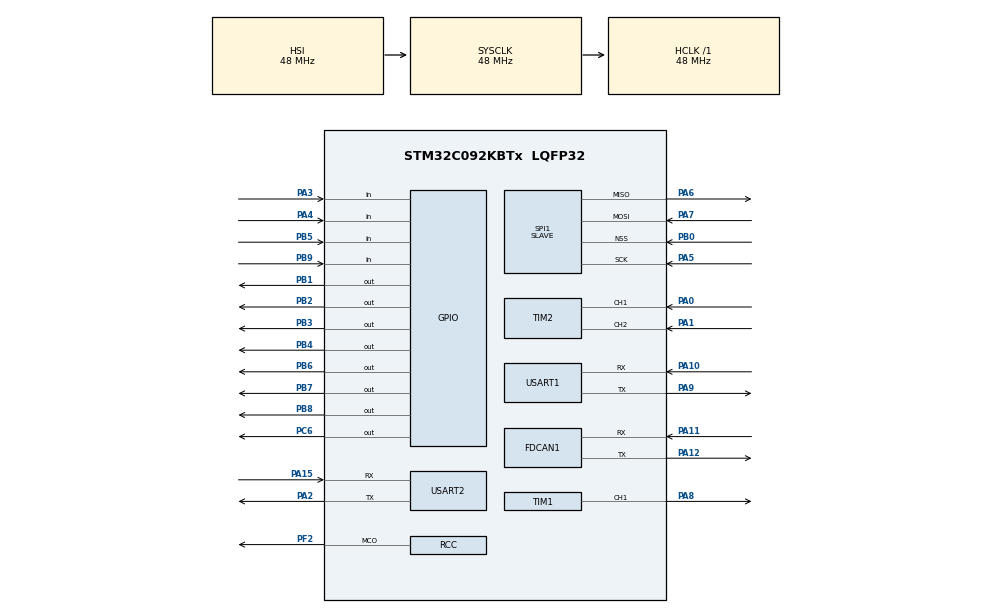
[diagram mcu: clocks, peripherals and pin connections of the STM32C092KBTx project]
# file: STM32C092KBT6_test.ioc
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FDCAN1.CalculateBaudRateNominal=1000000
FDCAN1.CalculateTimeQuantumNominal=333.3333333333333
Mcu.Family=STM32C0
Mcu.Name=STM32C092KBTx
Mcu.Package=LQFP32
NVIC.TIM14_IRQn=true\:0\:0\:false\:false\:true\:true\:true\:true
NVIC.TIM1_BRK_UP_TRG_COM_IRQn=true\:0\:0\:false\:false\:true\:true\:true\:true
NVIC.USART1_IRQn=true\:0\:0\:false\:false\:true\:true\:true\:true
NVIC.USART2_IRQn=true\:0\:0\:false\:false\:true\:true\:true\:true
PA0.Signal=S_TIM2_CH1
PA1.Signal=S_TIM2_CH2
PA10.Mode=Asynchronous
PA10.Signal=USART1_RX
PA11\ [PA9].Mode=FDCAN_Activate
PA11\ [PA9].Signal=FDCAN1_RX
PA12\ [PA10].Mode=FDCAN_Activate
PA12\ [PA10].Signal=FDCAN1_TX
PA13.Mode=Serial_Wire
PA13.Signal=DEBUG_SWDIO
PA14-BOOT0.Mode=Serial_Wire
PA14-BOOT0.Signal=DEBUG_SWCLK
PA15.Mode=Asynchronous
PA15.Signal=USART2_RX
PA2.Mode=Asynchronous
PA2.Signal=USART2_TX
PA3.Signal=GPIO_Input
PA4.Signal=GPIO_Input
PA5.Mode=Full_Duplex_Slave
PA5.Signal=SPI1_SCK
PA6.Mode=Full_Duplex_Slave
PA6.Signal=SPI1_MISO
PA7.Mode=Full_Duplex_Slave
PA7.Signal=SPI1_MOSI
PA8.Signal=S_TIM1_CH1
PA9.Mode=Asynchronous
PA9.Signal=USART1_TX
PB0.Mode=NSS_Signal_Hard_Input
PB0.Signal=SPI1_NSS
PB1.Signal=GPIO_Output
PB2.Signal=GPIO_Output
PB3.Signal=GPIO_Output
PB4.Signal=GPIO_Output
PB5.Signal=GPIO_Input
PB6.Signal=GPIO_Output
PB7.Signal=GPIO_Output
PB8.Signal=GPIO_Output
PB9.Signal=GPIO_Input
PC14-OSCX_IN(PC14).Signal=RCC_OSCX_IN
PC15-OSCX_OUT(PC15).Signal=RCC_OSCX_OUT
PC6.Signal=GPIO_Output
PF2-NRST.Mode=Clock-out
PF2-NRST.Signal=RCC_MCO
ProjectManager.HeapSize=0x200
ProjectManager.StackSize=0x400
ProjectManager.TargetToolchain=CMake
RCC.ADCFreq_Value=48000000
RCC.AHBFreq_Value=48000000
RCC.CortexFreq_Value=48000000
RCC.EXTERNAL_CLOCK_VALUE=12288000
RCC.HCLKFreq_Value=48000000
RCC.HSE_VALUE=8000000
RCC.HSISYSCLKDivider=RCC_HSI_DIV1
RCC.HSI_VALUE=48000000
RCC.LSE_VALUE=32768
RCC.SYSCLKFreq_VALUE=48000000
SH.S_TIM1_CH1.0=TIM1_CH1,PWM Generation1 CH1
SH.S_TIM2_CH1.0=TIM2_CH1,Encoder_Interface
SH.S_TIM2_CH2.0=TIM2_CH2,Encoder_Interface
SPI1.Direction=SPI_DIRECTION_2LINES
SPI1.Mode=SPI_MODE_SLAVE
SPI1.VirtualNSS=VM_NSSHARD
SPI1.VirtualType=VM_SLAVE
TIM1.AutoReloadPreload=TIM_AUTORELOAD_PRELOAD_ENABLE
TIM1.Channel-PWM\ Generation1\ CH1=TIM_CHANNEL_1
TIM1.Period=999
TIM1.Prescaler=47
TIM1.Pulse-PWM\ Generation1\ CH1=500
TIM14.AutoReloadPreload=TIM_AUTORELOAD_PRELOAD_DISABLE
TIM14.Period=999
TIM14.Prescaler=47
USART1.VirtualMode-Asynchronous=VM_ASYNC
USART2.VirtualMode-Asynchronous=VM_ASYNC
VP_TIM14_VS_ClockSourceINT.Mode=Enable_Timer
VP_TIM1_VS_ClockSourceINT.Mode=Internal
board=custom

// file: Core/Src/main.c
/* USER CODE BEGIN Header */
/**
  ******************************************************************************
  * @file           : main.c
  * @brief          : Main program body
  ******************************************************************************
  * @attention
  *
  * Copyright (c) 2026 STMicroelectronics.
  * All rights reserved.
  *
  * This software is licensed under terms that can be found in the LICENSE file
  * in the root directory of this software component.
  * If no LICENSE file comes with this software, it is provided AS-IS.
  *
  ******************************************************************************
  */
/* USER CODE END Header */
#include "main.h"
#include "fdcan.h"
#include "spi.h"
#include "tim.h"
#include "usart.h"
#include "gpio.h"

/* USER CODE BEGIN Includes */
#include <stdio.h>
#include "SPM_Modbus.h"
/* USER CODE END Includes */

/* USER CODE BEGIN PD */
//ピン定義
#define TQ_PIN GPIO_PIN_8     // トルクアップ信号ピン
#define TQ_PORT GPIOB         // トルクアップ信号ポート
#define EN_PIN GPIO_PIN_7     // イネーブル信号ピン
#define EN_PORT GPIOB         // イネーブル信号ポート
#define M2_PIN GPIO_PIN_6     // モータ2信号ピン
#define M2_PORT GPIOB         // モータ2信号ポート
#define M1_PIN GPIO_PIN_3     // モータ1信号ピン
#define M1_PORT GPIOB         // モータ1信号ポート
#define DIR_PIN GPIO_PIN_2    // 方向信号ピン
#define DIR_PORT GPIOB        // 方向信号ポート
#define STBY_PIN GPIO_PIN_1   // スタンバイ信号ピン
#define STBY_PORT GPIOB       // スタンバイ信号ポート

#define HOME_PIN GPIO_PIN_9   // HOME(IO0)信号ピン
#define HOME_PORT GPIOB       // HOME信号(IO0)ポート
#define H_LIMIT_PIN GPIO_PIN_3   // H_LIMIT(IO1)信号ピン
#define H_LIMIT_PORT GPIOA       // H_LIMIT(IO1)信号ポート
#define L_LIMIT_PIN GPIO_PIN_4   // L_LIMIT(IO2)信号ピン
#define L_LIMIT_PORT GPIOA       // L_LIMIT(IO2)信号ポート
#define EN_2_PIN GPIO_PIN_5   // enable信号ピン
#define EN_2_PORT GPIOB       // enable信号ポート

//ステータス定義ビットマップ
//0 動作中
//1,2,3 動作モード rw_modeの下位3ビットと同じ
//4,5 動作ステータス 0停止　1加速　2減速　3定速
//6 インポジション
//7 na
//8 enable ピン信号
//9 tq ピン信号
//10 enable ピン信号
//11 IO0ピン信号
//12 IO1ピン信号
//13 IO2ピン信号
//14,15 na

#define STATUS_ACTIVE       (1U << 0)
#define STATUS_MODE_MASK    (0x7U << 1)
#define STATUS_MOTION_MASK  (0x3U << 4)
#define STATUS_IN_POSITION  (1U << 6)
#define STATUS_ENABLE       (1U << 8)
#define STATUS_TQ           (1U << 9)
#define STATUS_ENABLE_2     (1U << 10)
#define STATUS_IO0          (1U << 11)
#define STATUS_IO1          (1U << 12)
#define STATUS_IO2          (1U << 13)

//エラー ビットマップ
//0 パルス追従エラー
//1 指令値エラー
//2 上限リミット
//3 下限リミット
//4 非常停止
//5-15 na

/* USER CODE END PD */

/* USER CODE BEGIN PV */
// グローバル変数
//_は内部変数、roは読み取り専用変数(input_regs)
//rwは読み書き可能な変数(holding_regs)
//デバイス定義
int16_t ro_model_no = 52;   // モデル番号
int16_t ro_version = 1;     // バージョン番号
int16_t ro_sub_version = 0; // サブバージョン番号

//内部変数
//シリアルデータ
typedef struct {
  int16_t rx_len;
  uint8_t recv_data;
  uint8_t rx_buf[256];
  uint8_t tx_buf[256];
} SerialData;
SerialData serial1;
SerialData serial2;

//アプリケーション変数
int16_t rw_dev_id=51; //デバイスID
//ステータス関連
volatile int16_t ro_status = 0; //ステータス
volatile int16_t rw_error = 0; // エラーステータス
//動作モード関連
volatile int16_t rw_mode = 0;  //動作モード　0:絶対位置制御, 1:速度制御　(最上位が動作指令ON)
volatile int16_t rw_io0_mode = 0; // IO0モード 0:無効 1:下限リミット(ONで有効) 2:下限リミット(OFFで有効)
volatile int16_t rw_io1_mode = 0; // IO1モード 0:無効 1:HOME(ONで有効) 2:HOME(OFFで有効)
volatile int16_t rw_io2_mode = 0; // IO2モード 0:無効 1:上限リミット(ONで有効) 2:上限リミット(OFFで有効)
//ステップ数
volatile int32_t _pulse_count = 0; //現在ステップ数
volatile int32_t _pulse_target = 0; //目標ステップ数
volatile int32_t _pulse_start = 0; //動作開始時のステップ数
volatile int32_t _pulse_direction = 1; //正転:+1、反転:-1
volatile int16_t ro_pulse_acc = 0; //加速ステップ数 (Acceleration steps) #自動計算
volatile int16_t ro_pulse_dec = 0; //減速ステップ数 (Deceleration steps) #自動計算
//ステップ数(表示用) 表示用は必ずint16_tで定義すること
volatile int16_t rw_pulse_count_h = 0; //現在ステップ数の上位16ビット(表示用)
volatile int16_t rw_pulse_count_l = 0; //現在ステップ数の下位16ビット(表示用)
volatile int16_t rw_pulse_target_h = 0; //目標ステップ数の上位16ビット(表示用)
volatile int16_t rw_pulse_target_l = 0; //目標ステップ数の下位16ビット(表示用)
//速度関連
volatile int32_t _next_period_us = 0; //次の周期時間 (マイクロ秒)
volatile int32_t _FL_speed = 0; //初速 period
volatile int32_t _FH_speed = 0; //最高速 period
volatile int32_t _FH_direction = 1; //最高速の方向
volatile int32_t _position_speed_hz = 0; //位置制御の現在速度Hz
//速度関連(表示用)
volatile int16_t ro_next_period_hz = 0; //次の周期周波数 (Hz) #表示用
volatile int16_t rw_FL_speed_hz = 0; //初速 (表示用)
volatile int16_t rw_FH_speed_hz = 0; //最高速 (表示用)
volatile int16_t rw_ACC_ratio = 0; //加速レート (表示用)
//その他

/* USER CODE END PV */

void SystemClock_Config(void);
/* USER CODE BEGIN PFP */
//絶対値を返す関数32ビット版
int32_t abs32(int32_t x)
{
    return (x < 0) ? -x : x;
}
//絶対値を返す関数16ビット版
int16_t abs16(int16_t x)
{
    return (x < 0) ? -x : x;
}

// 上位16ビットと下位16ビットから32ビットのステップ数を結合する関数
int32_t combine_words(int16_t high_word, int16_t low_word)
{
  if (high_word == 0 && low_word < 0)
  {
    return low_word;
  }
  return ((int32_t)high_word << 16) | (uint16_t)low_word;
}

//正負か0を返す関数16ビット版
int16_t sign16(int16_t x)
{
    return (x > 0) - (x < 0);
}

//正負か0を返す関数32ビット版
int32_t sign32(int32_t x)
{
    return (x > 0) - (x < 0);
}

//周期[us]から周波数[Hz]を計算する関数
int32_t period_to_frequency(int32_t period_us)
{
  if (period_us == 0)
        return 0;
  return (period_us < 0)
     ? -(1000000 / abs32(period_us))
     : (1000000 / period_us);
}
//周波数[Hz]から周期[us]を計算する関数
int32_t frequency_to_period(int32_t frequency_hz)
{
    if (frequency_hz <= 0)
        return 0;
    return 1000000 / frequency_hz;
}

void UpdateStatusInputs(void)
{
  ro_status &= (STATUS_ACTIVE | STATUS_MODE_MASK | STATUS_MOTION_MASK
        | STATUS_IN_POSITION);
  ro_status |= ((uint16_t)(rw_mode & 0x7) << 1);

  if (__HAL_TIM_GET_COUNTER(&htim1) != 0U)
  {
    ro_status |= STATUS_ACTIVE;
  }
  if (HAL_GPIO_ReadPin(EN_PORT, EN_PIN) == GPIO_PIN_SET)
  {
    ro_status |= STATUS_ENABLE | STATUS_ENABLE_2;
  }
  if (HAL_GPIO_ReadPin(TQ_PORT, TQ_PIN) == GPIO_PIN_SET)
  {
    ro_status |= STATUS_TQ;
  }
  if (HAL_GPIO_ReadPin(HOME_PORT, HOME_PIN) == GPIO_PIN_SET)
  {
    ro_status |= STATUS_IO0;
  }
  if (HAL_GPIO_ReadPin(H_LIMIT_PORT, H_LIMIT_PIN) == GPIO_PIN_SET)
  {
    ro_status |= STATUS_IO1;
  }
  if (HAL_GPIO_ReadPin(L_LIMIT_PORT, L_LIMIT_PIN) == GPIO_PIN_SET)
  {
    ro_status |= STATUS_IO2;
  }
}

/* USER CODE END PFP */

int main(void)
{

  /* MCU Configuration--------------------------------------------------------*/

  /* Reset of all peripherals, Initializes the Flash interface and the Systick. */
  HAL_Init();

  /* Configure the system clock */
  SystemClock_Config();

  /* Initialize all configured peripherals */
  MX_GPIO_Init();
  MX_FDCAN1_Init();
  MX_USART1_UART_Init();
  MX_TIM1_Init();
  MX_SPI1_Init();
  MX_USART2_UART_Init();
  MX_TIM14_Init();
  MX_TIM2_Init();
  /* USER CODE BEGIN 2 */

  //各レジスタ初期化
  SPM_ModbusInit();
  //Input (Read-Only) Registers
  //アプリケーション変数のうちのro(input_regs)+rw(holding_regs)
  p_input_regs[0] = &ro_model_no;   //モデルナンバー
  p_input_regs[1] = &ro_version; //バージョン
  p_input_regs[2] = &ro_sub_version; //サブバージョン
  p_input_regs[3] = &rw_dev_id;
  p_input_regs[4] = &ro_status; //ステータス
  p_input_regs[5] = &rw_error; //エラーコード
  p_input_regs[6] = &rw_mode; //モード
  p_input_regs[7] = &rw_io0_mode; //IO0モード
  p_input_regs[8] = &rw_io1_mode; //IO1モード
  p_input_regs[9] = &rw_io2_mode; //IO2モード
  p_input_regs[10] = &ro_pulse_acc; //加速レート (表示用)
  p_input_regs[11] = &ro_pulse_dec; //減速レート (表示用)
  p_input_regs[12] = &rw_pulse_count_h; //パルスカウント上位
  p_input_regs[13] = &rw_pulse_count_l; //パルスカウント下位
  p_input_regs[14] = &rw_pulse_target_h; //パルスターゲット上位
  p_input_regs[15] = &rw_pulse_target_l; //パルスターゲット下位
  p_input_regs[16] = &ro_next_period_hz; //次の周期周波数 (表示用)
  p_input_regs[17] = &rw_FL_speed_hz; //初速 (表示用)
  p_input_regs[18] = &rw_FH_speed_hz; //最高速 (表示用)
  p_input_regs[19] = &rw_ACC_ratio; //加速比 (表示用)

  //Holding Registers (Read/Write)
  //アプリケーション変数のうちのrw(holding_regs)
  p_holding_regs[0] = &rw_dev_id;
  //rwモード関連
  p_holding_regs[1] = &rw_mode;
  p_holding_regs[2] = &rw_io0_mode;
  p_holding_regs[3] = &rw_io1_mode;
  p_holding_regs[4] = &rw_io2_mode;
  p_holding_regs[5] = &rw_error;
  //rwパルス関連
  p_holding_regs[6] = &rw_pulse_count_h;
  p_holding_regs[7] = &rw_pulse_count_l;
  p_holding_regs[8] = &rw_pulse_target_h;
  p_holding_regs[9] = &rw_pulse_target_l;
  //rw速度関連
  p_holding_regs[10] = &rw_FL_speed_hz;
  p_holding_regs[11] = &rw_FH_speed_hz;
  p_holding_regs[12] = &rw_ACC_ratio;

  //Cyclic Function0登録 位置制御
  cycfunc0.rx_len = 5;
  cycfunc0.rx_adr[0] = &ro_status;
  cycfunc0.rx_adr[1] = &rw_error;
  cycfunc0.rx_adr[2] = &rw_pulse_count_h;
  cycfunc0.rx_adr[3] = &rw_pulse_count_l;
  cycfunc0.rx_adr[4] = &ro_next_period_hz;
  cycfunc0.tx_len = 4;
  cycfunc0.tx_adr[0] = &rw_mode;
  cycfunc0.tx_adr[1] = &rw_pulse_target_h;
  cycfunc0.tx_adr[2] = &rw_pulse_target_l;
  cycfunc0.tx_adr[3] = &rw_FH_speed_hz;

  ParamLoad();
  SPM_ModbusSetAddress(rw_dev_id);
  HAL_UART_Receive_IT(&huart1, &serial1.recv_data, 1);
  HAL_UART_Receive_IT(&huart2, &serial2.recv_data, 1);
  HAL_TIM_Base_Start_IT(&htim14); // Start TIM14 for periodic interrupts
  HAL_GPIO_WritePin(GPIOB, GPIO_PIN_4, GPIO_PIN_RESET); // LED ON

  //FDCAN1 filter configuration
  // FDCAN_FilterTypeDef sFilterConfig;
  // sFilterConfig.IdType = FDCAN_STANDARD_ID;
  // sFilterConfig.FilterIndex = 0;
  // sFilterConfig.FilterType = FDCAN_FILTER_MASK;
  // sFilterConfig.FilterConfig = FDCAN_FILTER_TO_RXFIFO0;
  // sFilterConfig.FilterID1 = 0x123; // Standard ID is configured as-is (no manual bit shift)
  // sFilterConfig.FilterID2 = 0x7FF; // Filter mask (accept all IDs)
  // if (HAL_FDCAN_ConfigFilter(&hfdcan1, &sFilterConfig) != HAL_OK)
  // {
  //   TxDataLength = sprintf((char*)TxData, "FDCAN Filter Configuration Error\r\n");
  //   HAL_UART_Transmit(&huart1, TxData, TxDataLength, HAL_MAX_DELAY);
  //   // Filter configuration Error
  //   Error_Handler();
  // }else{

  //   TxDataLength = sprintf((char*)TxData, "FDCAN Filter Configuration Success\r\n");
  //   HAL_UART_Transmit(&huart1, TxData, TxDataLength, HAL_MAX_DELAY);
  // }

  // // Start FDCAN module
  // if (HAL_FDCAN_Start(&hfdcan1) != HAL_OK)
  // {
  //   TxDataLength = sprintf((char*)TxData, "FDCAN Start Error\r\n");
  //   HAL_UART_Transmit(&huart1, TxData, TxDataLength, HAL_MAX_DELAY);
  //   // Start Error
  //   Error_Handler();
  // }else{
  //   TxDataLength = sprintf((char*)TxData, "FDCAN Start Success\r\n");
  //   HAL_UART_Transmit(&huart1, TxData, TxDataLength, HAL_MAX_DELAY);
  // }

  //ピン設定
  HAL_GPIO_WritePin(M1_PORT, M1_PIN, GPIO_PIN_RESET);
  HAL_GPIO_WritePin(M2_PORT, M2_PIN, GPIO_PIN_RESET);
  //HAL_GPIO_WritePin(CK_PORT, CK_PIN, GPIO_PIN_RESET);
  HAL_GPIO_WritePin(DIR_PORT, DIR_PIN, GPIO_PIN_RESET);
  HAL_GPIO_WritePin(STBY_PORT, STBY_PIN, GPIO_PIN_RESET);
  HAL_GPIO_WritePin(EN_PORT, EN_PIN, GPIO_PIN_RESET);
  HAL_GPIO_WritePin(TQ_PORT, TQ_PIN, GPIO_PIN_RESET);

  //励磁方式設定　M1,M2
  HAL_GPIO_WritePin(M1_PORT, M1_PIN, GPIO_PIN_SET);
  HAL_GPIO_WritePin(M2_PORT, M2_PIN, GPIO_PIN_SET);

  //Enable
  HAL_GPIO_WritePin(EN_PORT, EN_PIN, GPIO_PIN_SET);
  HAL_GPIO_WritePin(STBY_PORT, STBY_PIN, GPIO_PIN_SET);

  /* USER CODE END 2 */

  /* Infinite loop */
  /* USER CODE BEGIN WHILE */
  while (1)
  {
    // //FDCAN送信
    // FDCAN_TxHeaderTypeDef TxHeader = {0};
    // uint8_t CanTxData[8] = {0x01, 0x02, 0x03, 0x04, 0x05, 0x06, 0x07, counter++}; // 送信データ
    // TxHeader.Identifier = 0x143; // 送信するID
    // TxHeader.IdType = FDCAN_STANDARD_ID;
    // TxHeader.TxFrameType = FDCAN_DATA_FRAME;
    // TxHeader.DataLength = FDCAN_DLC_BYTES_8;
    // TxHeader.ErrorStateIndicator = FDCAN_ESI_ACTIVE;
    // TxHeader.BitRateSwitch = FDCAN_BRS_OFF;
    // TxHeader.FDFormat = FDCAN_CLASSIC_CAN;
    // TxHeader.TxEventFifoControl = FDCAN_NO_TX_EVENTS;
    // TxHeader.MessageMarker = 0;
    // if (HAL_FDCAN_AddMessageToTxFifoQ(&hfdcan1, &TxHeader, CanTxData) != HAL_OK)
    // {
    //   // Transmission request Error
    //   TxDataLength = sprintf((char*)TxData, "FDCAN Transmission Error\r\n");
    //   HAL_UART_Transmit(&huart1, TxData, TxDataLength, HAL_MAX_DELAY);
    //   Error_Handler();
    // }else{
    //   TxDataLength = sprintf((char*)TxData, "FDCAN Transmission Success\r\n");
    //   HAL_UART_Transmit(&huart1, TxData, TxDataLength, HAL_MAX_DELAY);
    // }

		  if(serial1.rx_len>0){
			  HAL_Delay(10);
			  int16_t tx_len = SPM_ModbusTask(serial1.rx_buf, serial1.rx_len, serial1.tx_buf);
			  HAL_UART_Transmit_IT(&huart1, serial1.tx_buf, tx_len);
			  serial1.rx_len=0;
        //パルスカウントをリセット
        _pulse_count = combine_words(rw_pulse_count_h,
                      rw_pulse_count_l);
        _pulse_target = combine_words(rw_pulse_target_h,
                      rw_pulse_target_l);
		  }

		  if(serial2.rx_len>0){
			  HAL_Delay(10);
			  int16_t tx_len = SPM_ModbusTask(serial2.rx_buf, serial2.rx_len, serial2.tx_buf);
			  HAL_UART_Transmit_IT(&huart2, serial2.tx_buf, tx_len);
			  serial2.rx_len=0;
        //パルスカウントをリセット
        _pulse_count = combine_words(rw_pulse_count_h,
                      rw_pulse_count_l);
        _pulse_target = combine_words(rw_pulse_target_h,
                      rw_pulse_target_l);
		  }

    //ステータスアップデート
    UpdateStatusInputs();

    // rw_modeのbit7が動作指令。下位7bitで制御モードを選択する。
    // 0:位置制御、1:速度制御。指令は1回処理したらbit7をクリアする。
    if(rw_mode & 0x80){
      int16_t requested_mode = rw_mode & 0x7F;
      rw_mode = requested_mode;
      switch(requested_mode){
          case 0:
              //速度と加速レートを周期に変換
              //位置制御の時は正の速度のみ使用する
              rw_FL_speed_hz = abs16(rw_FL_speed_hz);
              _FL_speed = frequency_to_period(rw_FL_speed_hz);
              _FH_speed = frequency_to_period(abs16(rw_FH_speed_hz));
              if(_FH_speed == 0){rw_error = 1; break;}
              rw_ACC_ratio = abs16(rw_ACC_ratio);

              _pulse_start = _pulse_count;  // 現在のパルスカウントを開始位置として記録
              ro_status |= STATUS_ACTIVE | (1U << 4); // 制御モードをアクティブに設定

              // パルス方向を決定
              if (_pulse_count < _pulse_target) _pulse_direction = 1;
              else if (_pulse_count > _pulse_target) _pulse_direction = -1;
              else break;

              _FH_direction = _pulse_direction;   // FHの回転方向を設定
              _position_speed_hz = rw_FL_speed_hz;  // 位置制御時の目標速度
              // 加速パルス数を計算
              ro_pulse_acc = (abs16(rw_FH_speed_hz) - rw_FL_speed_hz)
                           / rw_ACC_ratio;
              // 加速位置が1未満にならないように調整
              if (ro_pulse_acc < 1) ro_pulse_acc = 1;
              // △: 加速位置が全移動距離の半分を超えないように調整
              if (ro_pulse_acc * 2 > abs32(_pulse_target - _pulse_start))
                  ro_pulse_acc = abs32(_pulse_target - _pulse_start) / 2;
              //減速パルス数を計算
              ro_pulse_dec = ro_pulse_acc;
              //初期速度を設定
              _next_period_us = _pulse_direction * _FL_speed;
              //回転方向を設定
              HAL_GPIO_WritePin(
                DIR_PORT,
                DIR_PIN,
                (_pulse_direction > 0) ? GPIO_PIN_SET : GPIO_PIN_RESET);
              // タイマーが停止している場合に初期設定を行う
              if ((htim1.Instance->CR1 & TIM_CR1_CEN) == 0U)
              {
                __HAL_TIM_SET_AUTORELOAD(&htim1, _FL_speed - 1);
                __HAL_TIM_SET_COMPARE(&htim1, TIM_CHANNEL_1,
                                      _FL_speed / 2);
                __HAL_TIM_SET_COUNTER(&htim1, 0);
                __HAL_TIM_CLEAR_FLAG(&htim1, TIM_FLAG_UPDATE);
                __HAL_TIM_ENABLE_IT(&htim1, TIM_IT_UPDATE);
                HAL_TIM_PWM_Start(&htim1, TIM_CHANNEL_1);
              }
              break;
          case 1:
              // 速度制御: FH速度の符号を回転方向、絶対値を目標速度として使用する。
              rw_FL_speed_hz = abs16(rw_FL_speed_hz);
              rw_ACC_ratio = abs16(rw_ACC_ratio);
              _FL_speed = frequency_to_period(rw_FL_speed_hz); // 初速(periodに変換)
              _FL_speed = abs32(_FL_speed);
              if (rw_FH_speed_hz == 0)
              {
                // FH速度が0の場合は回転を停止
                _FH_speed = 0;
              }
              else
              {
                // FH速度が0でない場合は方向付き最高速を設定
                _FH_speed = frequency_to_period(abs16(rw_FH_speed_hz))
                          * sign16(rw_FH_speed_hz); // 方向付き最高速period
              }

              // タイマーが停止している場合に初期設定を行う
              if (_FH_speed != 0
                  && (htim1.Instance->CR1 & TIM_CR1_CEN) == 0U)
              {
                ro_status |= STATUS_ACTIVE | (1U << 4);
                _next_period_us = _FL_speed * sign32(_FH_speed);
                __HAL_TIM_SET_AUTORELOAD(&htim1, abs32(_next_period_us) - 1);
                __HAL_TIM_SET_COMPARE(&htim1, TIM_CHANNEL_1,abs32(_next_period_us) / 2);
                __HAL_TIM_SET_COUNTER(&htim1, 0);

                __HAL_TIM_CLEAR_FLAG(&htim1, TIM_FLAG_UPDATE);
                __HAL_TIM_ENABLE_IT(&htim1, TIM_IT_UPDATE);

                HAL_TIM_PWM_Start(&htim1, TIM_CHANNEL_1);
              }
              break;
        }
    }

    //表示用にパルスカウントと速度を計算
    rw_pulse_count_h = (_pulse_count >> 16) & 0xFFFF;
    rw_pulse_count_l = _pulse_count & 0xFFFF;
    ro_next_period_hz = (int16_t)period_to_frequency(_next_period_us);

    /* USER CODE END WHILE */

  }
}

void SystemClock_Config(void)
{
  RCC_OscInitTypeDef RCC_OscInitStruct = {0};
  RCC_ClkInitTypeDef RCC_ClkInitStruct = {0};

  __HAL_FLASH_SET_LATENCY(FLASH_LATENCY_1);

  /** Initializes the RCC Oscillators according to the specified parameters
  * in the RCC_OscInitTypeDef structure.
  */
  RCC_OscInitStruct.OscillatorType = RCC_OSCILLATORTYPE_HSI;
  RCC_OscInitStruct.HSIState = RCC_HSI_ON;
  RCC_OscInitStruct.HSIDiv = RCC_HSI_DIV1;
  RCC_OscInitStruct.HSICalibrationValue = RCC_HSICALIBRATION_DEFAULT;
  if (HAL_RCC_OscConfig(&RCC_OscInitStruct) != HAL_OK)
  {
    Error_Handler();
  }

  /** Initializes the CPU, AHB and APB buses clocks
  */
  RCC_ClkInitStruct.ClockType = RCC_CLOCKTYPE_HCLK|RCC_CLOCKTYPE_SYSCLK
                              |RCC_CLOCKTYPE_PCLK1;
  RCC_ClkInitStruct.SYSCLKSource = RCC_SYSCLKSOURCE_HSI;
  RCC_ClkInitStruct.SYSCLKDivider = RCC_SYSCLK_DIV1;
  RCC_ClkInitStruct.AHBCLKDivider = RCC_HCLK_DIV1;
  RCC_ClkInitStruct.APB1CLKDivider = RCC_APB1_DIV1;

  if (HAL_RCC_ClockConfig(&RCC_ClkInitStruct, FLASH_LATENCY_1) != HAL_OK)
  {
    Error_Handler();
  }
  HAL_RCC_MCOConfig(RCC_MCO1, RCC_MCO1SOURCE_SYSCLK, RCC_MCODIV_1);
}

/* USER CODE BEGIN 4 */
void HAL_TIM_PWM_PulseFinishedCallback(TIM_HandleTypeDef *htim)
{
}

void HAL_UART_RxCpltCallback(UART_HandleTypeDef *huart)
{
   if (huart->Instance == USART1)
   {
	   serial1.rx_buf[serial1.rx_len] = serial1.recv_data;
	   serial1.rx_len++;
       HAL_UART_Receive_IT(&huart1, &serial1.recv_data, 1);
   }else if (huart->Instance == USART2)
   {
	   serial2.rx_buf[serial2.rx_len] = serial2.recv_data;
	   serial2.rx_len++;
       HAL_UART_Receive_IT(&huart2, &serial2.recv_data, 1);
   }
}

volatile int timer_1s = 0; // タイマーカウンタ
volatile int timer_10ms = 0; // タイマーカウンタ
/* USER CODE BEGIN 4 */
void HAL_TIM_PeriodElapsedCallback(TIM_HandleTypeDef *htim)
{
    if (htim->Instance == TIM1)
    {
      // TIM1の更新イベントは1パルス周期ごとに発生する。
      if ((rw_mode & 0x7F) == 0)
      {
        // 位置制御: 1パルスごとに現在位置を更新し、目標位置で停止する。
        int32_t move_distance = abs32(_pulse_target - _pulse_start);  // 移動距離を計算
        _pulse_count += _pulse_direction; // パルスカウントを更新
        int32_t move_progress = abs32(_pulse_count - _pulse_start); // 移動進捗を計算
        if (_pulse_count == _pulse_target)
        {
          // 目標位置に到達したらPWMとTIM1更新割り込みを停止する。
          HAL_TIM_PWM_Stop(&htim1, TIM_CHANNEL_1);
          __HAL_TIM_DISABLE_IT(&htim1, TIM_IT_UPDATE);
          _next_period_us = 0;
          ro_status &= ~(STATUS_ACTIVE | STATUS_MOTION_MASK);
          ro_status |= STATUS_IN_POSITION;
          ro_next_period_hz = 0;
          return;
        }

        if (move_progress < ro_pulse_acc)
        {
          // 加速区間: 周期を短くしてパルス周波数を上げる。
          ro_status = (ro_status & ~STATUS_MOTION_MASK) | (1U << 4);
          _position_speed_hz += rw_ACC_ratio;
          if (_position_speed_hz > abs16(rw_FH_speed_hz))
          {
            _position_speed_hz = abs16(rw_FH_speed_hz);
          }
          _next_period_us = _pulse_direction
                          * frequency_to_period(_position_speed_hz);
        }
        else if (move_progress >= move_distance - ro_pulse_dec)
        {
          // 減速区間: 周期を長くしてパルス周波数を下げる。
          ro_status = (ro_status & ~STATUS_MOTION_MASK) | (2U << 4);
          _position_speed_hz -= rw_ACC_ratio;
          if (_position_speed_hz < rw_FL_speed_hz)
          {
            _position_speed_hz = rw_FL_speed_hz;
          }
          _next_period_us = _pulse_direction
                          * frequency_to_period(_position_speed_hz);
        }
        else
        {
          // 等速区間: 周期を一定に保つ。
          ro_status = (ro_status & ~STATUS_MOTION_MASK) | (3U << 4);
        }

        // 次周期を設定してTIM1の自動リロードと比較値を更新する。
        __HAL_TIM_SET_AUTORELOAD(&htim1, abs32(_next_period_us) - 1);
        __HAL_TIM_SET_COMPARE(&htim1, TIM_CHANNEL_1,abs32(_next_period_us) / 2);
        ro_next_period_hz = (int16_t)period_to_frequency(_next_period_us);
        return;
      }

      int32_t target_direction = sign32(_FH_speed); // 目標速度の方向を取得
      int32_t current_direction = sign32(_next_period_us); // 現在の方向を取得
      int32_t current_period_us = abs32(_next_period_us);   // 現在の周期を取得

      // 速度制御: FH速度の符号を方向、周期の絶対値を速度として扱う。
      if (target_direction == 0 || _FL_speed <= 0 || rw_ACC_ratio <= 0)
      {
        // 目標速度がゼロの時、停止に向かうように減速処理を行う。
        if (target_direction == 0 && current_period_us < _FL_speed
            && _FL_speed > 0 && rw_ACC_ratio > 0)
        {
          //current_period_us < _FL_speedの時は減速処理を行う。
          current_period_us += rw_ACC_ratio;
          if (current_period_us > _FL_speed)
          {
            current_period_us = _FL_speed;
          }
          // 減速処理後の周期を設定する。
          _next_period_us = current_direction * current_period_us;
          __HAL_TIM_SET_AUTORELOAD(&htim1, current_period_us - 1);
          __HAL_TIM_SET_COMPARE(&htim1, TIM_CHANNEL_1,
                                current_period_us / 2);
          ro_next_period_hz = (int16_t)period_to_frequency(_next_period_us);
          return;
        }
        //current_period_us > _FL_speedの時はPWMを停止する。
        HAL_TIM_PWM_Stop(&htim1, TIM_CHANNEL_1);
        __HAL_TIM_DISABLE_IT(&htim1, TIM_IT_UPDATE);
        _next_period_us = 0;
        ro_status &= ~(STATUS_ACTIVE | STATUS_MOTION_MASK);
        ro_next_period_hz = 0;
        return;
      }

      // 目標速度がゼロでない場合の処理。
      // 現在速度がゼロの場合は初速周期で目標方向へ加速を開始する。
      if (current_direction == 0)
      {
        current_direction = target_direction;
        current_period_us = _FL_speed;
      }

      // 目標方向と現在方向が異なる場合は反転処理を行う。
      if (current_direction != target_direction)
      {
        ro_status = (ro_status & ~STATUS_MOTION_MASK) | (2U << 4);
        // 反転時は現在方向のまま初速周期まで減速してからDIRを切り替える。
        if (current_period_us < _FL_speed)
        {
          current_period_us += rw_ACC_ratio;
          if (current_period_us > _FL_speed)
          {
            current_period_us = _FL_speed;
          }
          _next_period_us = current_direction * current_period_us;
        }
        else
        {
          // 初速周期に達した時だけ目標方向へ切り替える。
          current_direction = target_direction;
          _next_period_us = current_direction * _FL_speed;
          current_period_us = _FL_speed;
        }
      }
      else if (current_period_us > abs32(_FH_speed))
      {
        // 加速: 周期を短くして目標速度へ近づける。
        ro_status = (ro_status & ~STATUS_MOTION_MASK) | (1U << 4);
        current_period_us -= rw_ACC_ratio;
        if (current_period_us < abs32(_FH_speed))
        {
          current_period_us = abs32(_FH_speed);
        }
        _next_period_us = current_direction * current_period_us;
      }
      else if (current_period_us < abs32(_FH_speed))
      {
        // 減速: 周期を長くして目標速度へ近づける。
        ro_status = (ro_status & ~STATUS_MOTION_MASK) | (2U << 4);
        current_period_us += rw_ACC_ratio;
        if (current_period_us > abs32(_FH_speed))
        {
          current_period_us = abs32(_FH_speed);
        }
        _next_period_us = current_direction * current_period_us;
      }
      else
      {
        // 目標速度に到達している場合の処理。
        ro_status = (ro_status & ~STATUS_MOTION_MASK) | (3U << 4);
        _next_period_us = current_direction * current_period_us;
      }

      // 現在のパルス数を更新し、DIRピンとタイマの設定を反映する。
      _pulse_count += _pulse_direction;
      HAL_GPIO_WritePin(
        DIR_PORT,
        DIR_PIN,
        (current_direction > 0) ? GPIO_PIN_SET : GPIO_PIN_RESET);
      __HAL_TIM_SET_AUTORELOAD(&htim1, current_period_us - 1);
      __HAL_TIM_SET_COMPARE(&htim1, TIM_CHANNEL_1, current_period_us / 2);
    }else if (htim->Instance == TIM14){
        timer_1s++;
        if (timer_1s >= 1000)
        {
            timer_1s = 0;
            HAL_GPIO_TogglePin(GPIOC, GPIO_PIN_6);
        }
    }
    // ...
}
/* USER CODE END 4 */

void Error_Handler(void)
{
  /* USER CODE BEGIN Error_Handler_Debug */
  while(1)
  {
    HAL_GPIO_TogglePin(GPIOB, GPIO_PIN_4); // Toggle LED to indicate error
    HAL_Delay(100); // 0.1秒待機
  }
  /* User can add his own implementation to report the HAL error return state */
  __disable_irq();
  while (1)
  {
  }
  /* USER CODE END Error_Handler_Debug */
}
